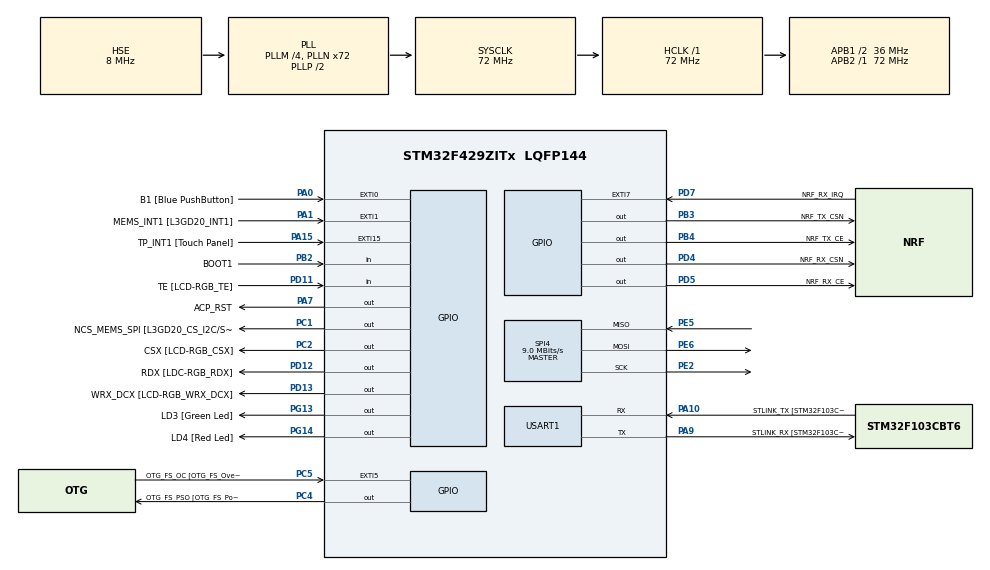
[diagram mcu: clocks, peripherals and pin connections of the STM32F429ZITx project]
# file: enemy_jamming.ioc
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Mcu.Family=STM32F4
Mcu.Name=STM32F429ZITx
Mcu.Package=LQFP144
NVIC.PriorityGroup=NVIC_PRIORITYGROUP_4
NVIC.SPI4_IRQn=true\:0\:0\:false\:false\:true\:true\:true\:true
NVIC.TIM6_DAC_IRQn=true\:15\:0\:false\:false\:true\:false\:true\:true
NVIC.TimeBase=TIM6_DAC_IRQn
NVIC.TimeBaseIP=TIM6
NVIC.USART1_IRQn=true\:0\:0\:false\:false\:true\:true\:true\:true
PA0/WKUP.GPIO_Label=B1 [Blue PushButton]
PA0/WKUP.GPIO_ModeDefaultEXTI=GPIO_MODE_EVT_RISING
PA0/WKUP.GPIO_PuPd=GPIO_NOPULL
PA0/WKUP.Signal=GPXTI0
PA1.GPIO_Label=MEMS_INT1 [L3GD20_INT1]
PA1.GPIO_ModeDefaultEXTI=GPIO_MODE_EVT_RISING
PA1.GPIO_PuPd=GPIO_NOPULL
PA1.Signal=GPXTI1
PA10.GPIO_Label=STLINK_TX [STM32F103CBT6_PA2]
PA10.Mode=Asynchronous
PA10.Signal=USART1_RX
PA11.GPIO_Label=R4
PA11.GPIO_Mode=GPIO_MODE_AF_PP
PA11.GPIO_PuPd=GPIO_NOPULL
PA11.GPIO_Speed=GPIO_SPEED_FREQ_LOW
PA11.Signal=LTDC_R4
PA12.GPIO_Label=R5
PA12.GPIO_Mode=GPIO_MODE_AF_PP
PA12.GPIO_PuPd=GPIO_NOPULL
PA12.GPIO_Speed=GPIO_SPEED_FREQ_LOW
PA12.Signal=LTDC_R5
PA13.GPIO_Label=SWDIO
PA13.Mode=Serial_Wire
PA13.Signal=SYS_JTMS-SWDIO
PA14.GPIO_Label=SWCLK
PA14.Mode=Serial_Wire
PA14.Signal=SYS_JTCK-SWCLK
PA15.GPIO_Label=TP_INT1 [Touch Panel]
PA15.GPIO_ModeDefaultEXTI=GPIO_MODE_EVT_RISING
PA15.GPIO_PuPd=GPIO_NOPULL
PA15.Signal=GPXTI15
PA3.GPIO_Label=B5
PA3.GPIO_Mode=GPIO_MODE_AF_PP
PA3.GPIO_PuPd=GPIO_NOPULL
PA3.GPIO_Speed=GPIO_SPEED_FREQ_LOW
PA3.Signal=LTDC_B5
PA4.GPIO_Label=VSYNC
PA4.GPIO_Mode=GPIO_MODE_AF_PP
PA4.GPIO_PuPd=GPIO_NOPULL
PA4.GPIO_Speed=GPIO_SPEED_FREQ_LOW
PA4.Signal=LTDC_VSYNC
PA6.GPIO_Label=G2
PA6.GPIO_Mode=GPIO_MODE_AF_PP
PA6.GPIO_PuPd=GPIO_NOPULL
PA6.GPIO_Speed=GPIO_SPEED_FREQ_LOW
PA6.Signal=LTDC_G2
PA7.GPIO_Label=ACP_RST
PA7.GPIO_Mode=GPIO_MODE_OUTPUT_PP
PA7.GPIO_PuPd=GPIO_NOPULL
PA7.GPIO_Speed=GPIO_SPEED_FREQ_LOW
PA7.Signal=GPIO_Output
PA8.GPIO_Label=I2C3_SCL [ACP/RF_SCL]
PA8.GPIO_Mode=GPIO_MODE_AF_OD
PA8.GPIO_Pu=GPIO_PULLUP
PA8.GPIO_PuPd=GPIO_NOPULL
PA8.GPIO_Speed=GPIO_SPEED_FREQ_LOW
PA8.Signal=I2C3_SCL
PA9.GPIO_Label=STLINK_RX [STM32F103CBT6_PA3]
PA9.Mode=Asynchronous
PA9.Signal=USART1_TX
PB0.GPIO_Label=R3
PB0.GPIO_Mode=GPIO_MODE_AF_PP
PB0.GPIO_PuPd=GPIO_NOPULL
PB0.GPIO_Speed=GPIO_SPEED_FREQ_LOW
PB0.Signal=LTDC_R3
PB1.GPIO_Label=R6
PB1.GPIO_Mode=GPIO_MODE_AF_PP
PB1.GPIO_PuPd=GPIO_NOPULL
PB1.GPIO_Speed=GPIO_SPEED_FREQ_LOW
PB1.Signal=LTDC_R6
PB10.GPIO_Label=G4
PB10.GPIO_Mode=GPIO_MODE_AF_PP
PB10.GPIO_PuPd=GPIO_NOPULL
PB10.GPIO_Speed=GPIO_SPEED_FREQ_LOW
PB10.Signal=LTDC_G4
PB11.GPIO_Label=G5
PB11.GPIO_Mode=GPIO_MODE_AF_PP
PB11.GPIO_PuPd=GPIO_NOPULL
PB11.GPIO_Speed=GPIO_SPEED_FREQ_LOW
PB11.Signal=LTDC_G5
PB12.GPIO_Label=OTG_HS_ID
PB12.GPIO_Mode=GPIO_MODE_AF_PP
PB12.GPIO_PuPd=GPIO_NOPULL
PB12.GPIO_Speed=GPIO_SPEED_FREQ_LOW
PB12.Signal=USB_OTG_HS_ID
PB13.GPIO_Label=VBUS_HS
PB13.GPIO_Mode=GPIO_MODE_INPUT
PB13.GPIO_PuPd=GPIO_NOPULL
PB13.Signal=USB_OTG_HS_VBUS
PB14.GPIO_Label=OTG_HS_DM
PB14.GPIO_Mode=GPIO_MODE_AF_PP
PB14.GPIO_PuPd=GPIO_NOPULL
PB14.GPIO_Speed=GPIO_SPEED_FREQ_LOW
PB14.Signal=USB_OTG_HS_DM
PB15.GPIO_Label=OTG_HS_DP
PB15.GPIO_Mode=GPIO_MODE_AF_PP
PB15.GPIO_PuPd=GPIO_NOPULL
PB15.GPIO_Speed=GPIO_SPEED_FREQ_LOW
PB15.Signal=USB_OTG_HS_DP
PB2/BOOT1.GPIO_Label=BOOT1
PB2/BOOT1.GPIO_Mode=GPIO_MODE_INPUT
PB2/BOOT1.GPIO_PuPd=GPIO_NOPULL
PB2/BOOT1.Signal=GPIO_Input
PB3.GPIO_Label=NRF_TX_CSN
PB3.GPIO_Speed=GPIO_SPEED_FREQ_HIGH
PB3.Signal=GPIO_Output
PB4.GPIO_Label=NRF_TX_CE
PB4.GPIO_Speed=GPIO_SPEED_FREQ_HIGH
PB4.Signal=GPIO_Output
PB5.GPIO_Label=SDCKE1
PB5.GPIO_Mode=GPIO_MODE_AF_PP
PB5.GPIO_PuPd=GPIO_NOPULL
PB5.GPIO_Speed=GPIO_SPEED_FREQ_VERY_HIGH
PB5.Signal=FMC_SDCKE1
PB6.GPIO_Label=SDNE1 [SDRAM_CS]
PB6.GPIO_Mode=GPIO_MODE_AF_PP
PB6.GPIO_PuPd=GPIO_NOPULL
PB6.GPIO_Speed=GPIO_SPEED_FREQ_VERY_HIGH
PB6.Signal=FMC_SDNE1
PB8.GPIO_Label=B6
PB8.GPIO_Mode=GPIO_MODE_AF_PP
PB8.GPIO_PuPd=GPIO_NOPULL
PB8.GPIO_Speed=GPIO_SPEED_FREQ_LOW
PB8.Signal=LTDC_B6
PB9.GPIO_Label=B7
PB9.GPIO_Mode=GPIO_MODE_AF_PP
PB9.GPIO_PuPd=GPIO_NOPULL
PB9.GPIO_Speed=GPIO_SPEED_FREQ_LOW
PB9.Signal=LTDC_B7
PC0.GPIO_Label=SDNWE
PC0.GPIO_Mode=GPIO_MODE_AF_PP
PC0.GPIO_PuPd=GPIO_NOPULL
PC0.GPIO_Speed=GPIO_SPEED_FREQ_VERY_HIGH
PC0.Signal=FMC_SDNWE
PC1.GPIO_Label=NCS_MEMS_SPI [L3GD20_CS_I2C/SPI]
PC1.GPIO_Mode=GPIO_MODE_OUTPUT_PP
PC1.GPIO_PuPd=GPIO_NOPULL
PC1.GPIO_Speed=GPIO_SPEED_FREQ_LOW
PC1.Signal=GPIO_Output
PC10.GPIO_Label=R2
PC10.GPIO_Mode=GPIO_MODE_AF_PP
PC10.GPIO_PuPd=GPIO_NOPULL
PC10.GPIO_Speed=GPIO_SPEED_FREQ_LOW
PC10.Signal=LTDC_R2
PC14/OSC32_IN.GPIO_Label=PC14-OSC32_IN
PC14/OSC32_IN.Signal=RCC_OSC32_IN
PC15/OSC32_OUT.GPIO_Label=PC15-OSC32_OUT
PC15/OSC32_OUT.Signal=RCC_OSC32_OUT
PC2.GPIO_Label=CSX [LCD-RGB_CSX]
PC2.GPIO_Mode=GPIO_MODE_OUTPUT_PP
PC2.GPIO_PuPd=GPIO_NOPULL
PC2.GPIO_Speed=GPIO_SPEED_FREQ_LOW
PC2.Signal=GPIO_Output
PC4.GPIO_Label=OTG_FS_PSO [OTG_FS_PowerSwitchOn]
PC4.GPIO_Mode=GPIO_MODE_OUTPUT_PP
PC4.GPIO_PuPd=GPIO_NOPULL
PC4.GPIO_Speed=GPIO_SPEED_FREQ_LOW
PC4.Signal=GPIO_Output
PC5.GPIO_Label=OTG_FS_OC [OTG_FS_OverCurrent]
PC5.GPIO_ModeDefaultEXTI=GPIO_MODE_EVT_RISING
PC5.Signal=GPXTI5
PC6.GPIO_Label=HSYNC
PC6.GPIO_Mode=GPIO_MODE_AF_PP
PC6.GPIO_PuPd=GPIO_NOPULL
PC6.GPIO_Speed=GPIO_SPEED_FREQ_LOW
PC6.Signal=LTDC_HSYNC
PC7.GPIO_Label=G6
PC7.GPIO_Mode=GPIO_MODE_AF_PP
PC7.GPIO_PuPd=GPIO_NOPULL
PC7.GPIO_Speed=GPIO_SPEED_FREQ_LOW
PC7.Signal=LTDC_G6
PC9.GPIO_Label=I2C3_SDA [ACP/RF_SDA]
PC9.GPIO_Mode=GPIO_MODE_AF_OD
PC9.GPIO_Pu=GPIO_PULLUP
PC9.GPIO_PuPd=GPIO_NOPULL
PC9.GPIO_Speed=GPIO_SPEED_FREQ_LOW
PC9.Signal=I2C3_SDA
PD0.GPIO_Label=D2
PD0.GPIO_Mode=GPIO_MODE_AF_PP
PD0.GPIO_PuPd=GPIO_NOPULL
PD0.GPIO_Speed=GPIO_SPEED_FREQ_VERY_HIGH
PD0.Signal=FMC_D2_DA2
PD1.GPIO_Label=D3
PD1.GPIO_Mode=GPIO_MODE_AF_PP
PD1.GPIO_PuPd=GPIO_NOPULL
PD1.GPIO_Speed=GPIO_SPEED_FREQ_VERY_HIGH
PD1.Signal=FMC_D3_DA3
PD10.GPIO_Label=D15
PD10.GPIO_Mode=GPIO_MODE_AF_PP
PD10.GPIO_PuPd=GPIO_NOPULL
PD10.GPIO_Speed=GPIO_SPEED_FREQ_VERY_HIGH
PD10.Signal=FMC_D15_DA15
PD11.GPIO_Label=TE [LCD-RGB_TE]
PD11.GPIO_Mode=GPIO_MODE_INPUT
PD11.GPIO_PuPd=GPIO_NOPULL
PD11.Signal=GPIO_Input
PD12.GPIO_Label=RDX [LDC-RGB_RDX]
PD12.GPIO_Mode=GPIO_MODE_OUTPUT_PP
PD12.GPIO_PuPd=GPIO_NOPULL
PD12.GPIO_Speed=GPIO_SPEED_FREQ_LOW
PD12.Signal=GPIO_Output
PD13.GPIO_Label=WRX_DCX [LCD-RGB_WRX_DCX]
PD13.GPIO_Mode=GPIO_MODE_OUTPUT_PP
PD13.GPIO_PuPd=GPIO_NOPULL
PD13.GPIO_Speed=GPIO_SPEED_FREQ_LOW
PD13.Signal=GPIO_Output
PD14.GPIO_Label=D0
PD14.GPIO_Mode=GPIO_MODE_AF_PP
PD14.GPIO_PuPd=GPIO_NOPULL
PD14.GPIO_Speed=GPIO_SPEED_FREQ_VERY_HIGH
PD14.Signal=FMC_D0_DA0
PD15.GPIO_Label=D1
PD15.GPIO_Mode=GPIO_MODE_AF_PP
PD15.GPIO_PuPd=GPIO_NOPULL
PD15.GPIO_Speed=GPIO_SPEED_FREQ_VERY_HIGH
PD15.Signal=FMC_D1_DA1
PD3.GPIO_Label=G7
PD3.GPIO_Mode=GPIO_MODE_AF_PP
PD3.GPIO_PuPd=GPIO_NOPULL
PD3.GPIO_Speed=GPIO_SPEED_FREQ_LOW
PD3.Signal=LTDC_G7
PD4.GPIO_Label=NRF_RX_CSN
PD4.GPIO_Speed=GPIO_SPEED_FREQ_HIGH
PD4.Signal=GPIO_Output
PD5.GPIO_Label=NRF_RX_CE
PD5.GPIO_Speed=GPIO_SPEED_FREQ_HIGH
PD5.Signal=GPIO_Output
PD6.GPIO_Label=B2
PD6.GPIO_Mode=GPIO_MODE_AF_PP
PD6.GPIO_PuPd=GPIO_NOPULL
PD6.GPIO_Speed=GPIO_SPEED_FREQ_LOW
PD6.Signal=LTDC_B2
PD7.GPIO_Label=NRF_RX_IRQ
PD7.GPIO_ModeDefaultEXTI=GPIO_MODE_IT_FALLING
PD7.Signal=GPXTI7
PD8.GPIO_Label=D13
PD8.GPIO_Mode=GPIO_MODE_AF_PP
PD8.GPIO_PuPd=GPIO_NOPULL
PD8.GPIO_Speed=GPIO_SPEED_FREQ_VERY_HIGH
PD8.Signal=FMC_D13_DA13
PD9.GPIO_Label=D14
PD9.GPIO_Mode=GPIO_MODE_AF_PP
PD9.GPIO_PuPd=GPIO_NOPULL
PD9.GPIO_Speed=GPIO_SPEED_FREQ_VERY_HIGH
PD9.Signal=FMC_D14_DA14
PE0.GPIO_Label=NBL0 [SDRAM_LDQM]
PE0.GPIO_Mode=GPIO_MODE_AF_PP
PE0.GPIO_PuPd=GPIO_NOPULL
PE0.GPIO_Speed=GPIO_SPEED_FREQ_VERY_HIGH
PE0.Signal=FMC_NBL0
PE1.GPIO_Label=NBL1 [SDRAM_UDQM]
PE1.GPIO_Mode=GPIO_MODE_AF_PP
PE1.GPIO_PuPd=GPIO_NOPULL
PE1.GPIO_Speed=GPIO_SPEED_FREQ_VERY_HIGH
PE1.Signal=FMC_NBL1
PE10.GPIO_Label=D7
PE10.GPIO_Mode=GPIO_MODE_AF_PP
PE10.GPIO_PuPd=GPIO_NOPULL
PE10.GPIO_Speed=GPIO_SPEED_FREQ_VERY_HIGH
PE10.Signal=FMC_D7_DA7
PE11.GPIO_Label=D8
PE11.GPIO_Mode=GPIO_MODE_AF_PP
PE11.GPIO_PuPd=GPIO_NOPULL
PE11.GPIO_Speed=GPIO_SPEED_FREQ_VERY_HIGH
PE11.Signal=FMC_D8_DA8
PE12.GPIO_Label=D9
PE12.GPIO_Mode=GPIO_MODE_AF_PP
PE12.GPIO_PuPd=GPIO_NOPULL
PE12.GPIO_Speed=GPIO_SPEED_FREQ_VERY_HIGH
PE12.Signal=FMC_D9_DA9
PE13.GPIO_Label=D10
PE13.GPIO_Mode=GPIO_MODE_AF_PP
PE13.GPIO_PuPd=GPIO_NOPULL
PE13.GPIO_Speed=GPIO_SPEED_FREQ_VERY_HIGH
PE13.Signal=FMC_D10_DA10
PE14.GPIO_Label=D11
PE14.GPIO_Mode=GPIO_MODE_AF_PP
PE14.GPIO_PuPd=GPIO_NOPULL
PE14.GPIO_Speed=GPIO_SPEED_FREQ_VERY_HIGH
PE14.Signal=FMC_D11_DA11
PE15.GPIO_Label=D12
PE15.GPIO_Mode=GPIO_MODE_AF_PP
PE15.GPIO_PuPd=GPIO_NOPULL
PE15.GPIO_Speed=GPIO_SPEED_FREQ_VERY_HIGH
PE15.Signal=FMC_D12_DA12
PE2.Mode=Full_Duplex_Master
PE2.Signal=SPI4_SCK
PE5.Mode=Full_Duplex_Master
PE5.Signal=SPI4_MISO
PE6.Mode=Full_Duplex_Master
PE6.Signal=SPI4_MOSI
PE7.GPIO_Label=D4
PE7.GPIO_Mode=GPIO_MODE_AF_PP
PE7.GPIO_PuPd=GPIO_NOPULL
PE7.GPIO_Speed=GPIO_SPEED_FREQ_VERY_HIGH
PE7.Signal=FMC_D4_DA4
PE8.GPIO_Label=D5
PE8.GPIO_Mode=GPIO_MODE_AF_PP
PE8.GPIO_PuPd=GPIO_NOPULL
PE8.GPIO_Speed=GPIO_SPEED_FREQ_VERY_HIGH
PE8.Signal=FMC_D5_DA5
PE9.GPIO_Label=D6
PE9.GPIO_Mode=GPIO_MODE_AF_PP
PE9.GPIO_PuPd=GPIO_NOPULL
PE9.GPIO_Speed=GPIO_SPEED_FREQ_VERY_HIGH
PE9.Signal=FMC_D6_DA6
PF0.GPIO_Label=A0
PF0.GPIO_Mode=GPIO_MODE_AF_PP
PF0.GPIO_PuPd=GPIO_NOPULL
PF0.GPIO_Speed=GPIO_SPEED_FREQ_VERY_HIGH
PF0.Signal=FMC_A0
PF1.GPIO_Label=A1
PF1.GPIO_Mode=GPIO_MODE_AF_PP
PF1.GPIO_PuPd=GPIO_NOPULL
PF1.GPIO_Speed=GPIO_SPEED_FREQ_VERY_HIGH
PF1.Signal=FMC_A1
PF10.GPIO_Label=ENABLE [LCD-RGB_ENABLE]
PF10.GPIO_Mode=GPIO_MODE_AF_PP
PF10.GPIO_PuPd=GPIO_NOPULL
PF10.GPIO_Speed=GPIO_SPEED_FREQ_LOW
PF10.Signal=LTDC_DE
PF11.GPIO_Label=SDNRAS
PF11.GPIO_Mode=GPIO_MODE_AF_PP
PF11.GPIO_PuPd=GPIO_NOPULL
PF11.GPIO_Speed=GPIO_SPEED_FREQ_VERY_HIGH
PF11.Signal=FMC_SDNRAS
PF12.GPIO_Label=A6
PF12.GPIO_Mode=GPIO_MODE_AF_PP
PF12.GPIO_PuPd=GPIO_NOPULL
PF12.GPIO_Speed=GPIO_SPEED_FREQ_VERY_HIGH
PF12.Signal=FMC_A6
PF13.GPIO_Label=A7
PF13.GPIO_Mode=GPIO_MODE_AF_PP
PF13.GPIO_PuPd=GPIO_NOPULL
PF13.GPIO_Speed=GPIO_SPEED_FREQ_VERY_HIGH
PF13.Signal=FMC_A7
PF14.GPIO_Label=A8
PF14.GPIO_Mode=GPIO_MODE_AF_PP
PF14.GPIO_PuPd=GPIO_NOPULL
PF14.GPIO_Speed=GPIO_SPEED_FREQ_VERY_HIGH
PF14.Signal=FMC_A8
PF15.GPIO_Label=A9
PF15.GPIO_Mode=GPIO_MODE_AF_PP
PF15.GPIO_PuPd=GPIO_NOPULL
PF15.GPIO_Speed=GPIO_SPEED_FREQ_VERY_HIGH
PF15.Signal=FMC_A9
PF2.GPIO_Label=A2
PF2.GPIO_Mode=GPIO_MODE_AF_PP
PF2.GPIO_PuPd=GPIO_NOPULL
PF2.GPIO_Speed=GPIO_SPEED_FREQ_VERY_HIGH
PF2.Signal=FMC_A2
PF3.GPIO_Label=A3
PF3.GPIO_Mode=GPIO_MODE_AF_PP
PF3.GPIO_PuPd=GPIO_NOPULL
PF3.GPIO_Speed=GPIO_SPEED_FREQ_VERY_HIGH
PF3.Signal=FMC_A3
PF4.GPIO_Label=A4
PF4.GPIO_Mode=GPIO_MODE_AF_PP
PF4.GPIO_PuPd=GPIO_NOPULL
PF4.GPIO_Speed=GPIO_SPEED_FREQ_VERY_HIGH
PF4.Signal=FMC_A4
PF5.GPIO_Label=A5
PF5.GPIO_Mode=GPIO_MODE_AF_PP
PF5.GPIO_PuPd=GPIO_NOPULL
PF5.GPIO_Speed=GPIO_SPEED_FREQ_VERY_HIGH
PF5.Signal=FMC_A5
PF7.GPIO_Label=SPI5_SCK [L3GD20_SCL/SPC]
PF7.GPIO_Mode=GPIO_MODE_AF_PP
PF7.GPIO_PuPd=GPIO_NOPULL
PF7.GPIO_Speed=GPIO_SPEED_FREQ_LOW
PF7.Signal=SPI5_SCK
PF8.GPIO_Label=SPI5_MISO [L3GD20_SDO]
PF8.GPIO_Mode=GPIO_MODE_AF_PP
PF8.GPIO_PuPd=GPIO_NOPULL
PF8.GPIO_Speed=GPIO_SPEED_FREQ_LOW
PF8.Signal=SPI5_MISO
PF9.GPIO_Label=SPI5_MOSI [L3GD20_SDA/SDI/SDO]
PF9.GPIO_Mode=GPIO_MODE_AF_PP
PF9.GPIO_PuPd=GPIO_NOPULL
PF9.GPIO_Speed=GPIO_SPEED_FREQ_LOW
PF9.Signal=SPI5_MOSI
PG0.GPIO_Label=A10
PG0.GPIO_Mode=GPIO_MODE_AF_PP
PG0.GPIO_PuPd=GPIO_NOPULL
PG0.GPIO_Speed=GPIO_SPEED_FREQ_VERY_HIGH
PG0.Signal=FMC_A10
PG1.GPIO_Label=A11
PG1.GPIO_Mode=GPIO_MODE_AF_PP
PG1.GPIO_PuPd=GPIO_NOPULL
PG1.GPIO_Speed=GPIO_SPEED_FREQ_VERY_HIGH
PG1.Signal=FMC_A11
PG10.GPIO_Label=G3
PG10.GPIO_Mode=GPIO_MODE_AF_PP
PG10.GPIO_PuPd=GPIO_NOPULL
PG10.GPIO_Speed=GPIO_SPEED_FREQ_LOW
PG10.Signal=LTDC_G3
PG11.GPIO_Label=B3
PG11.GPIO_Mode=GPIO_MODE_AF_PP
PG11.GPIO_PuPd=GPIO_NOPULL
PG11.GPIO_Speed=GPIO_SPEED_FREQ_LOW
PG11.Signal=LTDC_B3
PG12.GPIO_Label=B4
PG12.GPIO_Mode=GPIO_MODE_AF_PP
PG12.GPIO_PuPd=GPIO_NOPULL
PG12.GPIO_Speed=GPIO_SPEED_FREQ_LOW
PG12.Signal=LTDC_B4
PG13.GPIO_Label=LD3 [Green Led]
PG13.GPIO_Mode=GPIO_MODE_OUTPUT_PP
PG13.GPIO_PuPd=GPIO_NOPULL
PG13.GPIO_Speed=GPIO_SPEED_FREQ_LOW
PG13.Signal=GPIO_Output
PG14.GPIO_Label=LD4 [Red Led]
PG14.GPIO_Mode=GPIO_MODE_OUTPUT_PP
PG14.GPIO_PuPd=GPIO_NOPULL
PG14.GPIO_Speed=GPIO_SPEED_FREQ_LOW
PG14.Signal=GPIO_Output
PG15.GPIO_Label=SDNCAS
PG15.GPIO_Mode=GPIO_MODE_AF_PP
PG15.GPIO_PuPd=GPIO_NOPULL
PG15.GPIO_Speed=GPIO_SPEED_FREQ_VERY_HIGH
PG15.Signal=FMC_SDNCAS
PG4.GPIO_Label=BA0
PG4.GPIO_Mode=GPIO_MODE_AF_PP
PG4.GPIO_PuPd=GPIO_NOPULL
PG4.GPIO_Speed=GPIO_SPEED_FREQ_VERY_HIGH
PG4.Signal=FMC_A14_BA0
PG5.GPIO_Label=BA1
PG5.GPIO_Mode=GPIO_MODE_AF_PP
PG5.GPIO_PuPd=GPIO_NOPULL
PG5.GPIO_Speed=GPIO_SPEED_FREQ_VERY_HIGH
PG5.Signal=FMC_A15_BA1
PG6.GPIO_Label=R7
PG6.GPIO_Mode=GPIO_MODE_AF_PP
PG6.GPIO_PuPd=GPIO_NOPULL
PG6.GPIO_Speed=GPIO_SPEED_FREQ_LOW
PG6.Signal=LTDC_R7
PG7.GPIO_Label=DOTCLK [LCT-RGB_DOTCLK]
PG7.GPIO_Mode=GPIO_MODE_AF_PP
PG7.GPIO_PuPd=GPIO_NOPULL
PG7.GPIO_Speed=GPIO_SPEED_FREQ_LOW
PG7.Signal=LTDC_CLK
PG8.GPIO_Label=SDCLK
PG8.GPIO_Mode=GPIO_MODE_AF_PP
PG8.GPIO_PuPd=GPIO_NOPULL
PG8.GPIO_Speed=GPIO_SPEED_FREQ_VERY_HIGH
PG8.Signal=FMC_SDCLK
PH0/OSC_IN.GPIO_Label=PH0-OSC_IN
PH0/OSC_IN.Mode=HSE-External-Oscillator
PH0/OSC_IN.Signal=RCC_OSC_IN
PH1/OSC_OUT.GPIO_Label=PH1-OSC_OUT
PH1/OSC_OUT.Mode=HSE-External-Oscillator
PH1/OSC_OUT.Signal=RCC_OSC_OUT
ProjectManager.HeapSize=0x200
ProjectManager.StackSize=0x400
ProjectManager.TargetToolchain=STM32CubeIDE
RCC.48MHZClocksFreq_Value=48000000
RCC.AHBFreq_Value=72000000
RCC.APB1CLKDivider=RCC_HCLK_DIV2
RCC.APB1Freq_Value=36000000
RCC.APB1TimFreq_Value=72000000
RCC.APB2Freq_Value=72000000
RCC.APB2TimFreq_Value=72000000
RCC.CortexFreq_Value=72000000
RCC.HCLKFreq_Value=72000000
RCC.HSE_VALUE=8000000
RCC.HSI_VALUE=16000000
RCC.LSE_VALUE=32768
RCC.PLLM=4
RCC.PLLN=72
RCC.PLLQ=3
RCC.PLLSAIN=50
RCC.PLLSourceVirtual=RCC_PLLSOURCE_HSE
RCC.SYSCLKFreq_VALUE=72000000
RCC.SYSCLKSource=RCC_SYSCLKSOURCE_PLLCLK
RCC.VCOOutputFreq_Value=144000000
SH.FMC_A0.0=FMC_A0
SH.FMC_A1.0=FMC_A1
SH.FMC_A10.0=FMC_A10
SH.FMC_A11.0=FMC_A11
SH.FMC_A14_BA0.0=FMC_BA0
SH.FMC_A15_BA1.0=FMC_BA1
SH.FMC_A2.0=FMC_A2
SH.FMC_A3.0=FMC_A3
SH.FMC_A4.0=FMC_A4
SH.FMC_A5.0=FMC_A5
SH.FMC_A6.0=FMC_A6
SH.FMC_A7.0=FMC_A7
SH.FMC_A8.0=FMC_A8
SH.FMC_A9.0=FMC_A9
SH.FMC_D0_DA0.0=FMC_D0
SH.FMC_D10_DA10.0=FMC_D10
SH.FMC_D11_DA11.0=FMC_D11
SH.FMC_D12_DA12.0=FMC_D12
SH.FMC_D13_DA13.0=FMC_D13
SH.FMC_D14_DA14.0=FMC_D14
SH.FMC_D15_DA15.0=FMC_D15
SH.FMC_D1_DA1.0=FMC_D1
SH.FMC_D2_DA2.0=FMC_D2
SH.FMC_D3_DA3.0=FMC_D3
SH.FMC_D4_DA4.0=FMC_D4
SH.FMC_D5_DA5.0=FMC_D5
SH.FMC_D6_DA6.0=FMC_D6
SH.FMC_D7_DA7.0=FMC_D7
SH.FMC_D8_DA8.0=FMC_D8
SH.FMC_D9_DA9.0=FMC_D9
SH.FMC_NBL0.0=FMC_NBL0
SH.FMC_NBL1.0=FMC_NBL1
SH.FMC_SDCLK.0=FMC_SDCLK
SH.FMC_SDNCAS.0=FMC_SDNCAS
SH.FMC_SDNRAS.0=FMC_SDNRAS
SH.FMC_SDNWE.0=FMC_SDNWE
SPI4.BaudRatePrescaler=SPI_BAUDRATEPRESCALER_8
SPI4.CalculateBaudRate=9.0 MBits/s
SPI4.Direction=SPI_DIRECTION_2LINES
SPI4.Mode=SPI_MODE_MASTER
SPI4.VirtualType=VM_MASTER
USART1.VirtualMode=VM_ASYNC
VP_SYS_VS_tim6.Mode=TIM6
VP_TIM1_VS_ClockSourceINT.Mode=Internal
board=STM32F429I-DISC1

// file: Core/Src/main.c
/* USER CODE BEGIN Header */
/**
  ******************************************************************************
  * @file           : main.c
  * @brief          : Main program body
  * @author         : OhReum Yoon and EunHye Kim
  ******************************************************************************
  * @attention
  *
  * Copyright (c) 2026 STMicroelectronics.
  * All rights reserved.
  *
  * This software is licensed under terms that can be found in the LICENSE file
  * in the root directory of this software component.
  * If no LICENSE file comes with this software, it is provided AS-IS.
  *
  ******************************************************************************
  */
/* USER CODE END Header */
#include "main.h"

/* USER CODE BEGIN Includes */
#include <stdio.h>
#include <string.h>
#include "NRF24.h"
#include "NRF24_reg_addresses.h"

#define PLD_SIZE 32

/* USER CODE END Includes */

/* USER CODE BEGIN PD */

// Modify V8: Define packet-count test timing
#define TEST_PACKET_COUNT 1000U
#define TX_INTERVAL_MS 500U

/* USER CODE END PD */

SPI_HandleTypeDef hspi4;

TIM_HandleTypeDef htim1;

UART_HandleTypeDef huart1;

void SystemClock_Config(void);
static void MX_GPIO_Init(void);
static void MX_TIM1_Init(void);
static void MX_USART1_UART_Init(void);
static void MX_SPI4_Init(void);
/* USER CODE BEGIN PFP */
static void uart_log(const char *message);
static void nrf24_log_state(uint8_t module, const char *name);
/* USER CODE END PFP */

/* USER CODE BEGIN 0 */

// printf
int __io_putchar(int ch)
{
 if ( ch == '\n' )
	 HAL_UART_Transmit(&huart1, (uint8_t*)&"\r", 1, HAL_MAX_DELAY);
 HAL_UART_Transmit(&huart1, (uint8_t*)&ch, 1, HAL_MAX_DELAY);
 return ch;
}
int __io_getchar(void)
{
	uint8_t ch;

	while( HAL_OK != HAL_UART_Receive(&huart1, &ch, 1, HAL_MAX_DELAY) )
	{
		;
	}
	return ch;
}

uint8_t data_T[PLD_SIZE];
uint8_t data_R[PLD_SIZE];
uint8_t addr[5] = { 0x10, 0x21, 0x32, 0x43, 0x54 };

// Modify V8: Remove unused payload counter
//uint8_t txCount = 0;

// Modify V8: Add TX and RX test counters
uint32_t txAttemptCount = 0;
uint32_t rxCount = 0;
uint32_t lastTxTick = 0;
uint8_t testFinished = 0;

static void uart_log(const char *message)
{
  HAL_UART_Transmit(&huart1, (uint8_t *)message, strlen(message), 200);
}

static void nrf24_log_state(uint8_t module, const char *name)
{
  char message[96];
  uint8_t status;
  uint8_t config;
  uint8_t channel;

  nrf24_select_module(module);
  status = nrf24_r_status();
  config = nrf24_r_reg(CONFIG, 1);
  channel = nrf24_r_reg(RF_CH, 1);

  snprintf(message, sizeof(message),
           "%s STATUS=0x%02X CONFIG=0x%02X RF_CH=%u\r\n",
           name, status, config, channel);
  uart_log(message);
}

/* USER CODE END 0 */

int main(void)
{

  /* MCU Configuration--------------------------------------------------------*/

  /* Reset of all peripherals, Initializes the Flash interface and the Systick. */
  HAL_Init();

  /* Configure the system clock */
  SystemClock_Config();

  /* Initialize all configured peripherals */
  MX_GPIO_Init();
  MX_TIM1_Init();
  MX_USART1_UART_Init();
  MX_SPI4_Init();
  /* USER CODE BEGIN 2 */
  /* The two radios share SPI4. Both slaves must be de-selected before the
   * first SPI transaction. */
  HAL_GPIO_WritePin(NRF_TX_CSN_GPIO_Port, NRF_TX_CSN_Pin, GPIO_PIN_SET);
  HAL_GPIO_WritePin(NRF_RX_CSN_GPIO_Port, NRF_RX_CSN_Pin, GPIO_PIN_SET);
  HAL_GPIO_WritePin(NRF_TX_CE_GPIO_Port, NRF_TX_CE_Pin, GPIO_PIN_RESET);
  HAL_GPIO_WritePin(NRF_RX_CE_GPIO_Port, NRF_RX_CE_Pin, GPIO_PIN_RESET);
  HAL_Delay(10);

  uart_log("BOOT: nRF24 communication test\r\n");

  uart_log("TX init start\r\n");
  nrf24_select_module(0);
  nrf24_init();
  nrf24_stop_listen();
  nrf24_tx_pwr(n18dbm);
  nrf24_data_rate(_1mbps);
  nrf24_set_channel(78);
  nrf24_set_crc(en_crc, _2byte);
  nrf24_set_addr_width(5);
  // Modify V8: Disable auto ACK and retransmission for TX
  nrf24_auto_ack_all(disable);
  //nrf24_auto_retr_delay(4);
  nrf24_auto_retr_limit(0);
  nrf24_open_tx_pipe(addr);
  nrf24_open_rx_pipe(0, addr);

  nrf24_log_state(0, "TX");

  uart_log("RX init start\r\n");
  nrf24_select_module(1);
  nrf24_init();
  nrf24_tx_pwr(n18dbm);
  nrf24_data_rate(_1mbps);
  nrf24_set_channel(78);
  nrf24_set_crc(en_crc, _2byte);
  nrf24_set_addr_width(5);
  // Modify V8: Disable auto ACK and retransmission for RX
  nrf24_auto_ack_all(disable);
  nrf24_auto_retr_limit(0);
  nrf24_pipe_pld_size(0, PLD_SIZE);
  nrf24_open_rx_pipe(0, addr);
  nrf24_flush_rx();
  nrf24_listen();
  HAL_Delay(5);

  /* USER CODE END 2 */

  /* Infinite loop */
  /* USER CODE BEGIN WHILE */
  while (1)
  {
    // Modify V8: Run non-blocking TX and RX test loop
    uint32_t now = HAL_GetTick();
    uint8_t txSent = 0;

    if (!testFinished &&
        (txAttemptCount < TEST_PACKET_COUNT) &&
        ((now - lastTxTick) >= TX_INTERVAL_MS)) {
      lastTxTick = now;
      nrf24_select_module(0);

      // Modify V8: Transmit a fixed payload without snprintf
      txAttemptCount++;
      nrf24_transmit(data_T, sizeof(data_T));
      txSent = 1;

      if (txAttemptCount >= TEST_PACKET_COUNT) {
        testFinished = 1;
      }
    }

    nrf24_select_module(1);
    while (nrf24_data_available()) {
      nrf24_receive(data_R, sizeof(data_R));
      rxCount++;

      memset(data_R, 0, sizeof(data_R));
    }

    // Modify V8: Print TX and RX counts after each transmission
    if (txSent) {
      printf("TX=%lu RX=%lu\n",
             (unsigned long)txAttemptCount,
             (unsigned long)rxCount);
    }

    /* USER CODE END WHILE */

  }
}

void SystemClock_Config(void)
{
  RCC_OscInitTypeDef RCC_OscInitStruct = {0};
  RCC_ClkInitTypeDef RCC_ClkInitStruct = {0};

  /** Configure the main internal regulator output voltage
  */
  __HAL_RCC_PWR_CLK_ENABLE();
  __HAL_PWR_VOLTAGESCALING_CONFIG(PWR_REGULATOR_VOLTAGE_SCALE3);

  /** Initializes the RCC Oscillators according to the specified parameters
  * in the RCC_OscInitTypeDef structure.
  */
  RCC_OscInitStruct.OscillatorType = RCC_OSCILLATORTYPE_HSE;
  RCC_OscInitStruct.HSEState = RCC_HSE_ON;
  RCC_OscInitStruct.PLL.PLLState = RCC_PLL_ON;
  RCC_OscInitStruct.PLL.PLLSource = RCC_PLLSOURCE_HSE;
  RCC_OscInitStruct.PLL.PLLM = 4;
  RCC_OscInitStruct.PLL.PLLN = 72;
  RCC_OscInitStruct.PLL.PLLP = RCC_PLLP_DIV2;
  RCC_OscInitStruct.PLL.PLLQ = 3;
  if (HAL_RCC_OscConfig(&RCC_OscInitStruct) != HAL_OK)
  {
    Error_Handler();
  }

  /** Initializes the CPU, AHB and APB buses clocks
  */
  RCC_ClkInitStruct.ClockType = RCC_CLOCKTYPE_HCLK|RCC_CLOCKTYPE_SYSCLK
                              |RCC_CLOCKTYPE_PCLK1|RCC_CLOCKTYPE_PCLK2;
  RCC_ClkInitStruct.SYSCLKSource = RCC_SYSCLKSOURCE_PLLCLK;
  RCC_ClkInitStruct.AHBCLKDivider = RCC_SYSCLK_DIV1;
  RCC_ClkInitStruct.APB1CLKDivider = RCC_HCLK_DIV2;
  RCC_ClkInitStruct.APB2CLKDivider = RCC_HCLK_DIV1;

  if (HAL_RCC_ClockConfig(&RCC_ClkInitStruct, FLASH_LATENCY_2) != HAL_OK)
  {
    Error_Handler();
  }
}

static void MX_SPI4_Init(void)
{

  /* SPI4 parameter configuration*/
  hspi4.Instance = SPI4;
  hspi4.Init.Mode = SPI_MODE_MASTER;
  hspi4.Init.Direction = SPI_DIRECTION_2LINES;
  hspi4.Init.DataSize = SPI_DATASIZE_8BIT;
  hspi4.Init.CLKPolarity = SPI_POLARITY_LOW;
  hspi4.Init.CLKPhase = SPI_PHASE_1EDGE;
  hspi4.Init.NSS = SPI_NSS_SOFT;
  hspi4.Init.BaudRatePrescaler = SPI_BAUDRATEPRESCALER_8;
  hspi4.Init.FirstBit = SPI_FIRSTBIT_MSB;
  hspi4.Init.TIMode = SPI_TIMODE_DISABLE;
  hspi4.Init.CRCCalculation = SPI_CRCCALCULATION_DISABLE;
  hspi4.Init.CRCPolynomial = 10;
  if (HAL_SPI_Init(&hspi4) != HAL_OK)
  {
    Error_Handler();
  }

}

static void MX_TIM1_Init(void)
{

  TIM_ClockConfigTypeDef sClockSourceConfig = {0};
  TIM_MasterConfigTypeDef sMasterConfig = {0};

  htim1.Instance = TIM1;
  htim1.Init.Prescaler = 72 - 1;
  htim1.Init.CounterMode = TIM_COUNTERMODE_UP;
  htim1.Init.Period = 65535;
  htim1.Init.ClockDivision = TIM_CLOCKDIVISION_DIV1;
  htim1.Init.RepetitionCounter = 0;
  htim1.Init.AutoReloadPreload = TIM_AUTORELOAD_PRELOAD_DISABLE;
  if (HAL_TIM_Base_Init(&htim1) != HAL_OK)
  {
    Error_Handler();
  }
  sClockSourceConfig.ClockSource = TIM_CLOCKSOURCE_INTERNAL;
  if (HAL_TIM_ConfigClockSource(&htim1, &sClockSourceConfig) != HAL_OK)
  {
    Error_Handler();
  }
  sMasterConfig.MasterOutputTrigger = TIM_TRGO_RESET;
  sMasterConfig.MasterSlaveMode = TIM_MASTERSLAVEMODE_DISABLE;
  if (HAL_TIMEx_MasterConfigSynchronization(&htim1, &sMasterConfig) != HAL_OK)
  {
    Error_Handler();
  }

}

static void MX_USART1_UART_Init(void)
{

  huart1.Instance = USART1;
  huart1.Init.BaudRate = 115200;
  huart1.Init.WordLength = UART_WORDLENGTH_8B;
  huart1.Init.StopBits = UART_STOPBITS_1;
  huart1.Init.Parity = UART_PARITY_NONE;
  huart1.Init.Mode = UART_MODE_TX_RX;
  huart1.Init.HwFlowCtl = UART_HWCONTROL_NONE;
  huart1.Init.OverSampling = UART_OVERSAMPLING_16;
  if (HAL_UART_Init(&huart1) != HAL_OK)
  {
    Error_Handler();
  }

}

static void MX_GPIO_Init(void)
{
  GPIO_InitTypeDef GPIO_InitStruct = {0};

  /* GPIO Ports Clock Enable */
  __HAL_RCC_GPIOE_CLK_ENABLE();
  __HAL_RCC_GPIOC_CLK_ENABLE();
  __HAL_RCC_GPIOF_CLK_ENABLE();
  __HAL_RCC_GPIOH_CLK_ENABLE();
  __HAL_RCC_GPIOA_CLK_ENABLE();
  __HAL_RCC_GPIOB_CLK_ENABLE();
  __HAL_RCC_GPIOG_CLK_ENABLE();
  __HAL_RCC_GPIOD_CLK_ENABLE();

  /*Configure GPIO pin Output Level */
  HAL_GPIO_WritePin(GPIOC, NCS_MEMS_SPI_Pin|CSX_Pin|OTG_FS_PSO_Pin, GPIO_PIN_RESET);

  /*Configure GPIO pin Output Level */
  HAL_GPIO_WritePin(ACP_RST_GPIO_Port, ACP_RST_Pin, GPIO_PIN_RESET);

  /*Configure GPIO pin Output Level */
  HAL_GPIO_WritePin(GPIOD, RDX_Pin|WRX_DCX_Pin|NRF_RX_CE_Pin, GPIO_PIN_RESET);
  HAL_GPIO_WritePin(GPIOD, NRF_RX_CSN_Pin, GPIO_PIN_SET);

  /*Configure GPIO pin Output Level */
  HAL_GPIO_WritePin(GPIOG, LD3_Pin|LD4_Pin, GPIO_PIN_RESET);

  /*Configure GPIO pin Output Level */
  HAL_GPIO_WritePin(GPIOB, NRF_TX_CE_Pin, GPIO_PIN_RESET);
  HAL_GPIO_WritePin(GPIOB, NRF_TX_CSN_Pin, GPIO_PIN_SET);

  /*Configure GPIO pins : A0_Pin A1_Pin A2_Pin A3_Pin
                           A4_Pin A5_Pin SDNRAS_Pin A6_Pin
                           A7_Pin A8_Pin A9_Pin */
  GPIO_InitStruct.Pin = A0_Pin|A1_Pin|A2_Pin|A3_Pin
                          |A4_Pin|A5_Pin|SDNRAS_Pin|A6_Pin
                          |A7_Pin|A8_Pin|A9_Pin;
  GPIO_InitStruct.Mode = GPIO_MODE_AF_PP;
  GPIO_InitStruct.Pull = GPIO_NOPULL;
  GPIO_InitStruct.Speed = GPIO_SPEED_FREQ_VERY_HIGH;
  GPIO_InitStruct.Alternate = GPIO_AF12_FMC;
  HAL_GPIO_Init(GPIOF, &GPIO_InitStruct);

  /*Configure GPIO pins : SPI5_SCK_Pin SPI5_MISO_Pin SPI5_MOSI_Pin */
  GPIO_InitStruct.Pin = SPI5_SCK_Pin|SPI5_MISO_Pin|SPI5_MOSI_Pin;
  GPIO_InitStruct.Mode = GPIO_MODE_AF_PP;
  GPIO_InitStruct.Pull = GPIO_NOPULL;
  GPIO_InitStruct.Speed = GPIO_SPEED_FREQ_LOW;
  GPIO_InitStruct.Alternate = GPIO_AF5_SPI5;
  HAL_GPIO_Init(GPIOF, &GPIO_InitStruct);

  /*Configure GPIO pin : ENABLE_Pin */
  GPIO_InitStruct.Pin = ENABLE_Pin;
  GPIO_InitStruct.Mode = GPIO_MODE_AF_PP;
  GPIO_InitStruct.Pull = GPIO_NOPULL;
  GPIO_InitStruct.Speed = GPIO_SPEED_FREQ_LOW;
  GPIO_InitStruct.Alternate = GPIO_AF14_LTDC;
  HAL_GPIO_Init(ENABLE_GPIO_Port, &GPIO_InitStruct);

  /*Configure GPIO pin : SDNWE_Pin */
  GPIO_InitStruct.Pin = SDNWE_Pin;
  GPIO_InitStruct.Mode = GPIO_MODE_AF_PP;
  GPIO_InitStruct.Pull = GPIO_NOPULL;
  GPIO_InitStruct.Speed = GPIO_SPEED_FREQ_VERY_HIGH;
  GPIO_InitStruct.Alternate = GPIO_AF12_FMC;
  HAL_GPIO_Init(SDNWE_GPIO_Port, &GPIO_InitStruct);

  /*Configure GPIO pins : NCS_MEMS_SPI_Pin CSX_Pin OTG_FS_PSO_Pin */
  GPIO_InitStruct.Pin = NCS_MEMS_SPI_Pin|CSX_Pin|OTG_FS_PSO_Pin;
  GPIO_InitStruct.Mode = GPIO_MODE_OUTPUT_PP;
  GPIO_InitStruct.Pull = GPIO_NOPULL;
  GPIO_InitStruct.Speed = GPIO_SPEED_FREQ_LOW;
  HAL_GPIO_Init(GPIOC, &GPIO_InitStruct);

  /*Configure GPIO pins : B1_Pin MEMS_INT1_Pin TP_INT1_Pin */
  GPIO_InitStruct.Pin = B1_Pin|MEMS_INT1_Pin|TP_INT1_Pin;
  GPIO_InitStruct.Mode = GPIO_MODE_EVT_RISING;
  GPIO_InitStruct.Pull = GPIO_NOPULL;
  HAL_GPIO_Init(GPIOA, &GPIO_InitStruct);

  /*Configure GPIO pins : B5_Pin VSYNC_Pin G2_Pin R4_Pin
                           R5_Pin */
  GPIO_InitStruct.Pin = B5_Pin|VSYNC_Pin|G2_Pin|R4_Pin
                          |R5_Pin;
  GPIO_InitStruct.Mode = GPIO_MODE_AF_PP;
  GPIO_InitStruct.Pull = GPIO_NOPULL;
  GPIO_InitStruct.Speed = GPIO_SPEED_FREQ_LOW;
  GPIO_InitStruct.Alternate = GPIO_AF14_LTDC;
  HAL_GPIO_Init(GPIOA, &GPIO_InitStruct);

  /*Configure GPIO pin : ACP_RST_Pin */
  GPIO_InitStruct.Pin = ACP_RST_Pin;
  GPIO_InitStruct.Mode = GPIO_MODE_OUTPUT_PP;
  GPIO_InitStruct.Pull = GPIO_NOPULL;
  GPIO_InitStruct.Speed = GPIO_SPEED_FREQ_LOW;
  HAL_GPIO_Init(ACP_RST_GPIO_Port, &GPIO_InitStruct);

  /*Configure GPIO pin : OTG_FS_OC_Pin */
  GPIO_InitStruct.Pin = OTG_FS_OC_Pin;
  GPIO_InitStruct.Mode = GPIO_MODE_EVT_RISING;
  GPIO_InitStruct.Pull = GPIO_NOPULL;
  HAL_GPIO_Init(OTG_FS_OC_GPIO_Port, &GPIO_InitStruct);

  /*Configure GPIO pins : R3_Pin R6_Pin */
  GPIO_InitStruct.Pin = R3_Pin|R6_Pin;
  GPIO_InitStruct.Mode = GPIO_MODE_AF_PP;
  GPIO_InitStruct.Pull = GPIO_NOPULL;
  GPIO_InitStruct.Speed = GPIO_SPEED_FREQ_LOW;
  GPIO_InitStruct.Alternate = GPIO_AF9_LTDC;
  HAL_GPIO_Init(GPIOB, &GPIO_InitStruct);

  /*Configure GPIO pin : BOOT1_Pin */
  GPIO_InitStruct.Pin = BOOT1_Pin;
  GPIO_InitStruct.Mode = GPIO_MODE_INPUT;
  GPIO_InitStruct.Pull = GPIO_NOPULL;
  HAL_GPIO_Init(BOOT1_GPIO_Port, &GPIO_InitStruct);

  /*Configure GPIO pins : A10_Pin A11_Pin BA0_Pin BA1_Pin
                           SDCLK_Pin SDNCAS_Pin */
  GPIO_InitStruct.Pin = A10_Pin|A11_Pin|BA0_Pin|BA1_Pin
                          |SDCLK_Pin|SDNCAS_Pin;
  GPIO_InitStruct.Mode = GPIO_MODE_AF_PP;
  GPIO_InitStruct.Pull = GPIO_NOPULL;
  GPIO_InitStruct.Speed = GPIO_SPEED_FREQ_VERY_HIGH;
  GPIO_InitStruct.Alternate = GPIO_AF12_FMC;
  HAL_GPIO_Init(GPIOG, &GPIO_InitStruct);

  /*Configure GPIO pins : D4_Pin D5_Pin D6_Pin D7_Pin
                           D8_Pin D9_Pin D10_Pin D11_Pin
                           D12_Pin NBL0_Pin NBL1_Pin */
  GPIO_InitStruct.Pin = D4_Pin|D5_Pin|D6_Pin|D7_Pin
                          |D8_Pin|D9_Pin|D10_Pin|D11_Pin
                          |D12_Pin|NBL0_Pin|NBL1_Pin;
  GPIO_InitStruct.Mode = GPIO_MODE_AF_PP;
  GPIO_InitStruct.Pull = GPIO_NOPULL;
  GPIO_InitStruct.Speed = GPIO_SPEED_FREQ_VERY_HIGH;
  GPIO_InitStruct.Alternate = GPIO_AF12_FMC;
  HAL_GPIO_Init(GPIOE, &GPIO_InitStruct);

  /*Configure GPIO pins : G4_Pin G5_Pin B6_Pin B7_Pin */
  GPIO_InitStruct.Pin = G4_Pin|G5_Pin|B6_Pin|B7_Pin;
  GPIO_InitStruct.Mode = GPIO_MODE_AF_PP;
  GPIO_InitStruct.Pull = GPIO_NOPULL;
  GPIO_InitStruct.Speed = GPIO_SPEED_FREQ_LOW;
  GPIO_InitStruct.Alternate = GPIO_AF14_LTDC;
  HAL_GPIO_Init(GPIOB, &GPIO_InitStruct);

  /*Configure GPIO pins : OTG_HS_ID_Pin OTG_HS_DM_Pin OTG_HS_DP_Pin */
  GPIO_InitStruct.Pin = OTG_HS_ID_Pin|OTG_HS_DM_Pin|OTG_HS_DP_Pin;
  GPIO_InitStruct.Mode = GPIO_MODE_AF_PP;
  GPIO_InitStruct.Pull = GPIO_NOPULL;
  GPIO_InitStruct.Speed = GPIO_SPEED_FREQ_LOW;
  GPIO_InitStruct.Alternate = GPIO_AF12_OTG_HS_FS;
  HAL_GPIO_Init(GPIOB, &GPIO_InitStruct);

  /*Configure GPIO pin : VBUS_HS_Pin */
  GPIO_InitStruct.Pin = VBUS_HS_Pin;
  GPIO_InitStruct.Mode = GPIO_MODE_INPUT;
  GPIO_InitStruct.Pull = GPIO_NOPULL;
  HAL_GPIO_Init(VBUS_HS_GPIO_Port, &GPIO_InitStruct);

  /*Configure GPIO pins : D13_Pin D14_Pin D15_Pin D0_Pin
                           D1_Pin D2_Pin D3_Pin */
  GPIO_InitStruct.Pin = D13_Pin|D14_Pin|D15_Pin|D0_Pin
                          |D1_Pin|D2_Pin|D3_Pin;
  GPIO_InitStruct.Mode = GPIO_MODE_AF_PP;
  GPIO_InitStruct.Pull = GPIO_NOPULL;
  GPIO_InitStruct.Speed = GPIO_SPEED_FREQ_VERY_HIGH;
  GPIO_InitStruct.Alternate = GPIO_AF12_FMC;
  HAL_GPIO_Init(GPIOD, &GPIO_InitStruct);

  /*Configure GPIO pin : TE_Pin */
  GPIO_InitStruct.Pin = TE_Pin;
  GPIO_InitStruct.Mode = GPIO_MODE_INPUT;
  GPIO_InitStruct.Pull = GPIO_NOPULL;
  HAL_GPIO_Init(TE_GPIO_Port, &GPIO_InitStruct);

  /*Configure GPIO pins : RDX_Pin WRX_DCX_Pin */
  GPIO_InitStruct.Pin = RDX_Pin|WRX_DCX_Pin;
  GPIO_InitStruct.Mode = GPIO_MODE_OUTPUT_PP;
  GPIO_InitStruct.Pull = GPIO_NOPULL;
  GPIO_InitStruct.Speed = GPIO_SPEED_FREQ_LOW;
  HAL_GPIO_Init(GPIOD, &GPIO_InitStruct);

  /*Configure GPIO pins : R7_Pin DOTCLK_Pin B3_Pin */
  GPIO_InitStruct.Pin = R7_Pin|DOTCLK_Pin|B3_Pin;
  GPIO_InitStruct.Mode = GPIO_MODE_AF_PP;
  GPIO_InitStruct.Pull = GPIO_NOPULL;
  GPIO_InitStruct.Speed = GPIO_SPEED_FREQ_LOW;
  GPIO_InitStruct.Alternate = GPIO_AF14_LTDC;
  HAL_GPIO_Init(GPIOG, &GPIO_InitStruct);

  /*Configure GPIO pins : HSYNC_Pin G6_Pin R2_Pin */
  GPIO_InitStruct.Pin = HSYNC_Pin|G6_Pin|R2_Pin;
  GPIO_InitStruct.Mode = GPIO_MODE_AF_PP;
  GPIO_InitStruct.Pull = GPIO_NOPULL;
  GPIO_InitStruct.Speed = GPIO_SPEED_FREQ_LOW;
  GPIO_InitStruct.Alternate = GPIO_AF14_LTDC;
  HAL_GPIO_Init(GPIOC, &GPIO_InitStruct);

  /*Configure GPIO pin : I2C3_SDA_Pin */
  GPIO_InitStruct.Pin = I2C3_SDA_Pin;
  GPIO_InitStruct.Mode = GPIO_MODE_AF_OD;
  GPIO_InitStruct.Pull = GPIO_PULLUP;
  GPIO_InitStruct.Speed = GPIO_SPEED_FREQ_LOW;
  GPIO_InitStruct.Alternate = GPIO_AF4_I2C3;
  HAL_GPIO_Init(I2C3_SDA_GPIO_Port, &GPIO_InitStruct);

  /*Configure GPIO pin : I2C3_SCL_Pin */
  GPIO_InitStruct.Pin = I2C3_SCL_Pin;
  GPIO_InitStruct.Mode = GPIO_MODE_AF_OD;
  GPIO_InitStruct.Pull = GPIO_PULLUP;
  GPIO_InitStruct.Speed = GPIO_SPEED_FREQ_LOW;
  GPIO_InitStruct.Alternate = GPIO_AF4_I2C3;
  HAL_GPIO_Init(I2C3_SCL_GPIO_Port, &GPIO_InitStruct);

  /*Configure GPIO pins : G7_Pin B2_Pin */
  GPIO_InitStruct.Pin = G7_Pin|B2_Pin;
  GPIO_InitStruct.Mode = GPIO_MODE_AF_PP;
  GPIO_InitStruct.Pull = GPIO_NOPULL;
  GPIO_InitStruct.Speed = GPIO_SPEED_FREQ_LOW;
  GPIO_InitStruct.Alternate = GPIO_AF14_LTDC;
  HAL_GPIO_Init(GPIOD, &GPIO_InitStruct);

  /*Configure GPIO pins : NRF_RX_CSN_Pin NRF_RX_CE_Pin */
  GPIO_InitStruct.Pin = NRF_RX_CSN_Pin|NRF_RX_CE_Pin;
  GPIO_InitStruct.Mode = GPIO_MODE_OUTPUT_PP;
  GPIO_InitStruct.Pull = GPIO_NOPULL;
  GPIO_InitStruct.Speed = GPIO_SPEED_FREQ_HIGH;
  HAL_GPIO_Init(GPIOD, &GPIO_InitStruct);

  /*Configure GPIO pin : NRF_RX_IRQ_Pin */
  GPIO_InitStruct.Pin = NRF_RX_IRQ_Pin;
  GPIO_InitStruct.Mode = GPIO_MODE_IT_FALLING;
  GPIO_InitStruct.Pull = GPIO_NOPULL;
  HAL_GPIO_Init(NRF_RX_IRQ_GPIO_Port, &GPIO_InitStruct);

  /*Configure GPIO pins : G3_Pin B4_Pin */
  GPIO_InitStruct.Pin = G3_Pin|B4_Pin;
  GPIO_InitStruct.Mode = GPIO_MODE_AF_PP;
  GPIO_InitStruct.Pull = GPIO_NOPULL;
  GPIO_InitStruct.Speed = GPIO_SPEED_FREQ_LOW;
  GPIO_InitStruct.Alternate = GPIO_AF9_LTDC;
  HAL_GPIO_Init(GPIOG, &GPIO_InitStruct);

  /*Configure GPIO pins : LD3_Pin LD4_Pin */
  GPIO_InitStruct.Pin = LD3_Pin|LD4_Pin;
  GPIO_InitStruct.Mode = GPIO_MODE_OUTPUT_PP;
  GPIO_InitStruct.Pull = GPIO_NOPULL;
  GPIO_InitStruct.Speed = GPIO_SPEED_FREQ_LOW;
  HAL_GPIO_Init(GPIOG, &GPIO_InitStruct);

  /*Configure GPIO pins : NRF_TX_CSN_Pin NRF_TX_CE_Pin */
  GPIO_InitStruct.Pin = NRF_TX_CSN_Pin|NRF_TX_CE_Pin;
  GPIO_InitStruct.Mode = GPIO_MODE_OUTPUT_PP;
  GPIO_InitStruct.Pull = GPIO_NOPULL;
  GPIO_InitStruct.Speed = GPIO_SPEED_FREQ_HIGH;
  HAL_GPIO_Init(GPIOB, &GPIO_InitStruct);

  /*Configure GPIO pins : SDCKE1_Pin SDNE1_Pin */
  GPIO_InitStruct.Pin = SDCKE1_Pin|SDNE1_Pin;
  GPIO_InitStruct.Mode = GPIO_MODE_AF_PP;
  GPIO_InitStruct.Pull = GPIO_NOPULL;
  GPIO_InitStruct.Speed = GPIO_SPEED_FREQ_VERY_HIGH;
  GPIO_InitStruct.Alternate = GPIO_AF12_FMC;
  HAL_GPIO_Init(GPIOB, &GPIO_InitStruct);

}

void HAL_TIM_PeriodElapsedCallback(TIM_HandleTypeDef *htim)
{
  if (htim->Instance == TIM6) {
    HAL_IncTick();
  }
}

void Error_Handler(void)
{
  __disable_irq();
  while (1)
  {
  }
}
